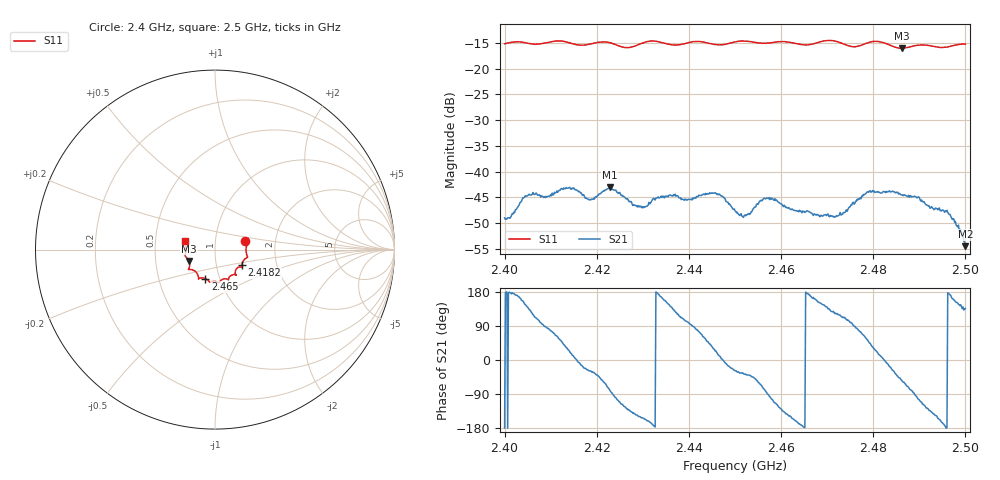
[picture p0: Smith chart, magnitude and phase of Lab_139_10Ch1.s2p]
# Hz S RI R 50
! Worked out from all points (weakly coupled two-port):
!   601 points, 2.4 GHz to 2.5 GHz, reference 50 ohm
!   highest |S21| = -43.06 dB at 2.4228 GHz (marker M1); lowest = -54.5 dB at 2.5 GHz (marker M2)
!   lowest |S11| = -16.0 dB at 2.4862 GHz (marker M3), VSWR 1.38, Z = 37.1 - j4.8 ohm
!   |S11| at or under -10 dB: start of sweep to end of sweep
!   S12 and S22 are empty: the file has one direction only
!   S11 on the Smith chart (normalised r, x): 2.4 GHz: 1.40, +0.13; 2.4182 GHz: 1.33, -0.23; 2.465 GHz: 0.86, -0.29; 2.5 GHz: 0.71, +0.07
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2.4e9  0.1687 0.0458  -0.00355 -2.33e-05  0 0  0 0
2.405e9  0.1761 0.0193  -0.00447 0.00381  0 0  0 0
2.409333e9  0.1774 -0.0303  0.000683 0.00569  0 0  0 0
2.413667e9  0.1749 -0.0461  0.00605 0.00333  0 0  0 0
2.416667e9  0.1548 -0.0684  0.00603 -0.00146  0 0  0 0
2.418167e9  0.1497 -0.0851  0.00476 -0.00247  0 0  0 0
2.422833e9  0.15 -0.0984  0.00123 -0.00692  0 0  0 0
2.429333e9  0.1129 -0.1318  -0.00399 -0.00236  0 0  0 0
2.433333e9  0.1167 -0.1413  -0.00566 0.000591  0 0  0 0
2.4455e9  0.0575 -0.1624  0.00543 0.00293  0 0  0 0
2.45e9  0.0251 -0.1806  0.00367 -0.00196  0 0  0 0
2.452167e9  0.0205 -0.1845  0.00302 -0.0023  0 0  0 0
2.456833e9  -0.00814 -0.1769  0.000461 -0.00554  0 0  0 0
2.465e9  -0.053 -0.1622  -0.00411 -0.000178  0 0  0 0
2.466667e9  -0.0716 -0.1576  -0.00382 0.00102  0 0  0 0
2.472e9  -0.0916 -0.1601  -0.00197 0.00318  0 0  0 0
2.475667e9  -0.1072 -0.1236  -0.000112 0.00504  0 0  0 0
2.478833e9  -0.1405 -0.1108  0.00391 0.00501  0 0  0 0
2.483333e9  -0.1423 -0.0958  0.00621 -0.00151  0 0  0 0
2.486167e9  -0.1448 -0.0631  0.00357 -0.00475  0 0  0 0
2.496167e9  -0.1619 0.0183  -0.00402 0.000182  0 0  0 0
2.5e9  -0.1668 0.0471  -0.00135 0.00132  0 0  0 0
